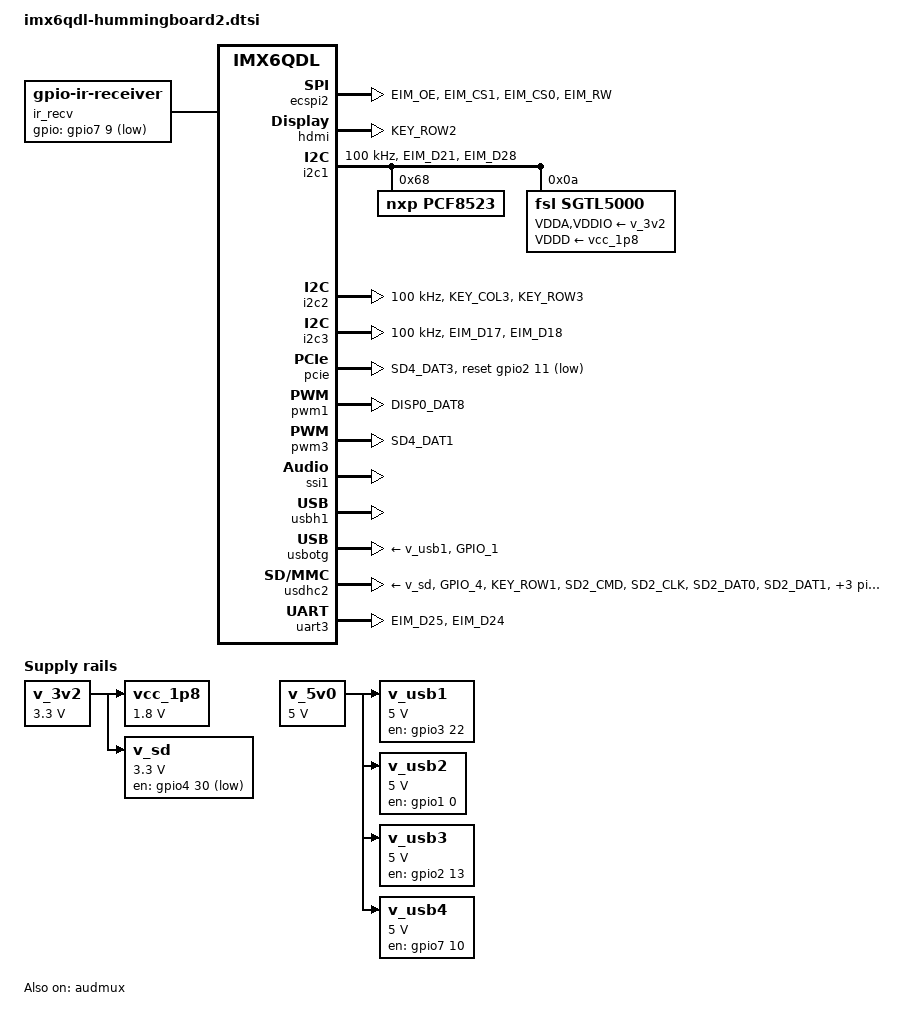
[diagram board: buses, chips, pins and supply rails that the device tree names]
/*
 * Copyright (C) 2015 Rabeeh Khoury <rabeeh@solid-run.com>
 *
 * This file is dual-licensed: you can use it either under the terms
 * of the GPL or the X11 license, at your option. Note that this dual
 * licensing only applies to this file, and not this project as a
 * whole.
 *
 *  a) This file is free software; you can redistribute it and/or
 *     modify it under the terms of the GNU General Public License
 *     version 2 as published by the Free Software Foundation.
 *
 *     This file is distributed in the hope that it will be useful,
 *     but WITHOUT ANY WARRANTY; without even the implied warranty of
 *     MERCHANTABILITY or FITNESS FOR A PARTICULAR PURPOSE.  See the
 *     GNU General Public License for more details.
 *
 * Or, alternatively,
 *
 *  b) Permission is hereby granted, free of charge, to any person
 *     obtaining a copy of this software and associated documentation
 *     files (the "Software"), to deal in the Software without
 *     restriction, including without limitation the rights to use,
 *     copy, modify, merge, publish, distribute, sublicense, and/or
 *     sell copies of the Software, and to permit persons to whom the
 *     Software is furnished to do so, subject to the following
 *     conditions:
 *
 *     The above copyright notice and this permission notice shall be
 *     included in all copies or substantial portions of the Software.
 *
 *     THE SOFTWARE IS PROVIDED "AS IS", WITHOUT WARRANTY OF ANY KIND,
 *     EXPRESS OR IMPLIED, INCLUDING BUT NOT LIMITED TO THE WARRANTIES
 *     OF MERCHANTABILITY, FITNESS FOR A PARTICULAR PURPOSE AND
 *     NONINFRINGEMENT. IN NO EVENT SHALL THE AUTHORS OR COPYRIGHT
 *     HOLDERS BE LIABLE FOR ANY CLAIM, DAMAGES OR OTHER LIABILITY,
 *     WHETHER IN AN ACTION OF CONTRACT, TORT OR OTHERWISE, ARISING
 *     FROM, OUT OF OR IN CONNECTION WITH THE SOFTWARE OR THE USE OR
 *     OTHER DEALINGS IN THE SOFTWARE.
 */
#include <dt-bindings/sound/fsl-imx-audmux.h>

/ {
	/* Will be filled by the bootloader */
	memory@10000000 {
		device_type = "memory";
		reg = <0x10000000 0>;
	};

	chosen {
		stdout-path = &uart1;
	};

	ir_recv: ir-receiver {
		compatible = "gpio-ir-receiver";
		gpios = <&gpio7 9 GPIO_ACTIVE_LOW>;
		pinctrl-names = "default";
		pinctrl-0 = <&pinctrl_hummingboard2_gpio7_9>;
		linux,rc-map-name = "rc-rc6-mce";
	};

	v_3v2: regulator-v-3v2 {
		compatible = "regulator-fixed";
		regulator-always-on;
		regulator-max-microvolt = <3300000>;
		regulator-min-microvolt = <3300000>;
		regulator-name = "v_3v2";
	};

	v_5v0: regulator-v-5v0 {
		compatible = "regulator-fixed";
		regulator-always-on;
		regulator-max-microvolt = <5000000>;
		regulator-min-microvolt = <5000000>;
		regulator-name = "v_5v0";
	};

	vcc_1p8: regulator-vcc-1p8 {
		compatible = "regulator-fixed";
		regulator-always-on;
		regulator-max-microvolt = <1800000>;
		regulator-min-microvolt = <1800000>;
		regulator-name = "vcc_1p8";
		vin-supply = <&v_3v2>;
	};

	v_sd: regulator-v-sd {
		compatible = "regulator-fixed";
		gpio = <&gpio4 30 GPIO_ACTIVE_HIGH>;
		pinctrl-names = "default";
		pinctrl-0 = <&pinctrl_hummingboard2_vmmc>;
		regulator-boot-on;
		regulator-max-microvolt = <3300000>;
		regulator-min-microvolt = <3300000>;
		regulator-name = "v_sd";
		startup-delay-us = <1000>;
		vin-supply = <&v_3v2>;
	};

	v_usb1: regulator-v-usb1 {
		compatible = "regulator-fixed";
		enable-active-high;
		gpio = <&gpio3 22 GPIO_ACTIVE_HIGH>;
		pinctrl-names = "default";
		pinctrl-0 = <&pinctrl_hummingboard2_usbotg_vbus>;
		regulator-always-on;
		regulator-max-microvolt = <5000000>;
		regulator-min-microvolt = <5000000>;
		regulator-name = "v_usb1";
		vin-supply = <&v_5v0>;
	};

	v_usb2: regulator-v-usb2 {
		/* USB hub port 1 */
		compatible = "regulator-fixed";
		enable-active-high;
		gpio = <&gpio1 0 GPIO_ACTIVE_HIGH>;
		pinctrl-names = "default";
		pinctrl-0 = <&pinctrl_hummingboard2_usbh1_vbus>;
		regulator-always-on;
		regulator-max-microvolt = <5000000>;
		regulator-min-microvolt = <5000000>;
		regulator-name = "v_usb2";
		vin-supply = <&v_5v0>;
	};

	v_usb3: regulator-v-usb3 {
		/* USB hub port 3 */
		compatible = "regulator-fixed";
		enable-active-high;
		gpio = <&gpio2 13 GPIO_ACTIVE_HIGH>;
		pinctrl-names = "default";
		pinctrl-0 = <&pinctrl_hummingboard2_usbh2_vbus>;
		regulator-always-on;
		regulator-max-microvolt = <5000000>;
		regulator-min-microvolt = <5000000>;
		regulator-name = "v_usb3";
		vin-supply = <&v_5v0>;
	};

	v_usb4: regulator-v-usb4 {
		/* USB hub port 4 */
		compatible = "regulator-fixed";
		enable-active-high;
		gpio = <&gpio7 10 GPIO_ACTIVE_HIGH>;
		pinctrl-names = "default";
		pinctrl-0 = <&pinctrl_hummingboard2_usbh3_vbus>;
		regulator-always-on;
		regulator-max-microvolt = <5000000>;
		regulator-min-microvolt = <5000000>;
		regulator-name = "v_usb4";
		vin-supply = <&v_5v0>;
	};

	audio: sound-sgtl5000 {
		compatible = "simple-audio-card";
		simple-audio-card,name = "On-board Codec";
		simple-audio-card,format = "i2s";
		simple-audio-card,bitclock-master = <&sound_codec>;
		simple-audio-card,frame-master = <&sound_codec>;
		simple-audio-card,widgets =
			"Microphone", "Mic Jack",
			"Headphone", "Headphone Jack";
		simple-audio-card,routing =
			"MIC_IN", "Mic Jack",
			"Mic Jack", "Mic Bias",
			"Headphone Jack", "HP_OUT";

		sound_cpu: simple-audio-card,cpu {
			sound-dai = <&ssi1>;
		};

		sound_codec: simple-audio-card,codec {
			sound-dai = <&sgtl5000>;
		};
	};
};

&audmux {
	status = "okay";

	ssi1 {
		fsl,audmux-port = <0>;
		fsl,port-config = <
			(IMX_AUDMUX_V2_PTCR_SYN |
			 IMX_AUDMUX_V2_PTCR_TFSEL(4) |
			 IMX_AUDMUX_V2_PTCR_TCSEL(4) |
			 IMX_AUDMUX_V2_PTCR_TFSDIR |
			 IMX_AUDMUX_V2_PTCR_TCLKDIR)
			 IMX_AUDMUX_V2_PDCR_RXDSEL(4)
		>;
	};

	pins5 {
		fsl,audmux-port = <4>;
		fsl,port-config = <
			IMX_AUDMUX_V2_PTCR_SYN
			IMX_AUDMUX_V2_PDCR_RXDSEL(0)
		>;
	};
};

&ecspi2 {
	pinctrl-names = "default";
	pinctrl-0 = <&pinctrl_hummingboard2_ecspi2>;
	cs-gpios = <&gpio2 26 GPIO_ACTIVE_LOW>;
	status = "okay";
};

&hdmi {
	pinctrl-names = "default";
	pinctrl-0 = <&pinctrl_hummingboard2_hdmi>;
	ddc-i2c-bus = <&i2c2>;
	status = "okay";
};

&i2c1 {
	clock-frequency = <100000>;
	pinctrl-names = "default";
	pinctrl-0 = <&pinctrl_hummingboard2_i2c1>;
	status = "okay";

	pcf8523: rtc@68 {
		compatible = "nxp,pcf8523";
		reg = <0x68>;
	};

	sgtl5000: codec@a {
		clocks = <&clks IMX6QDL_CLK_CKO>;
		compatible = "fsl,sgtl5000";
		#sound-dai-cells = <0>;
		pinctrl-names = "default";
		pinctrl-0 = <&pinctrl_hummingboard2_sgtl5000>;
		reg = <0x0a>;
		VDDA-supply = <&v_3v2>;
		VDDD-supply = <&vcc_1p8>;
		VDDIO-supply = <&v_3v2>;
	};
};

&i2c2 {
	clock-frequency = <100000>;
	pinctrl-names = "default";
	pinctrl-0 = <&pinctrl_hummingboard2_i2c2>;
	status = "okay";
};

&i2c3 {
	clock-frequency = <100000>;
	pinctrl-names = "default";
	pinctrl-0 = <&pinctrl_hummingboard2_i2c3>;
	status = "okay";
};

&iomuxc {
	pinctrl-names = "default";
	pinctrl-0 = <&pinctrl_hog>;

	hummingboard2 {
		pinctrl_hog: hoggrp {
		fsl,pins = <
				/*
				 * 36 pin headers GPIO description. The pins
				 * numbering as following -
				 *
				 * 	3.2v	5v	74	75
				 *	73	72	71	70
				 *	69	68	67	66
				 *
				 *	77	78	79	76
				 *	65	64	61	60
				 *	53	52	51	50
				 *	49	48	166	132
				 *	95	94	90	91
				 *	GND	54	24	204
				 *
				 * The GPIO numbers can be extracted using
				 * signal name from below.
				 * Example -
				 * MX6QDL_PAD_EIM_DA10__GPIO3_IO10 is
				 * GPIO(3,10) which is (3-1)*32+10 = gpio 74
				 *
				 * i.e. The mapping of GPIO(X,Y) to Linux gpio
				 * number is : gpio number = (X-1) * 32 + Y
				 */
				/* DI1_PIN15 */
				MX6QDL_PAD_EIM_DA10__GPIO3_IO10 0x400130b1
				/* DI1_PIN02 */
				MX6QDL_PAD_EIM_DA11__GPIO3_IO11 0x400130b1
				/* DISP1_DATA00 */
				MX6QDL_PAD_EIM_DA9__GPIO3_IO09 0x400130b1
				/* DISP1_DATA01 */
				MX6QDL_PAD_EIM_DA8__GPIO3_IO08 0x400130b1
				/* DISP1_DATA02 */
				MX6QDL_PAD_EIM_DA7__GPIO3_IO07 0x400130b1
				/* DISP1_DATA03 */
				MX6QDL_PAD_EIM_DA6__GPIO3_IO06 0x400130b1
				/* DISP1_DATA04 */
				MX6QDL_PAD_EIM_DA5__GPIO3_IO05 0x400130b1
				/* DISP1_DATA05 */
				MX6QDL_PAD_EIM_DA4__GPIO3_IO04 0x400130b1
				/* DISP1_DATA06 */
				MX6QDL_PAD_EIM_DA3__GPIO3_IO03 0x400130b1
				/* DISP1_DATA07 */
				MX6QDL_PAD_EIM_DA2__GPIO3_IO02 0x400130b1
				/* DI1_D0_CS */
				MX6QDL_PAD_EIM_DA13__GPIO3_IO13 0x400130b1
				/* DI1_D1_CS */
				MX6QDL_PAD_EIM_DA14__GPIO3_IO14 0x400130b1
				/* DI1_PIN01 */
				MX6QDL_PAD_EIM_DA15__GPIO3_IO15 0x400130b1
				/* DI1_PIN03 */
				MX6QDL_PAD_EIM_DA12__GPIO3_IO12 0x400130b1
				/* DISP1_DATA08 */
				MX6QDL_PAD_EIM_DA1__GPIO3_IO01 0x400130b1
				/* DISP1_DATA09 */
				MX6QDL_PAD_EIM_DA0__GPIO3_IO00 0x400130b1
				/* DISP1_DATA10 */
				MX6QDL_PAD_EIM_EB1__GPIO2_IO29 0x400130b1
				/* DISP1_DATA11 */
				MX6QDL_PAD_EIM_EB0__GPIO2_IO28 0x400130b1
				/* DISP1_DATA12 */
				MX6QDL_PAD_EIM_A17__GPIO2_IO21 0x400130b1
				/* DISP1_DATA13 */
				MX6QDL_PAD_EIM_A18__GPIO2_IO20 0x400130b1
				/* DISP1_DATA14 */
				MX6QDL_PAD_EIM_A19__GPIO2_IO19 0x400130b1
				/* DISP1_DATA15 */
				MX6QDL_PAD_EIM_A20__GPIO2_IO18 0x400130b1
				/* DISP1_DATA16 */
				MX6QDL_PAD_EIM_A21__GPIO2_IO17 0x400130b1
				/* DISP1_DATA17 */
				MX6QDL_PAD_EIM_A22__GPIO2_IO16 0x400130b1
				/* DISP1_DATA18 */
				MX6QDL_PAD_EIM_A23__GPIO6_IO06 0x400130b1
				/* DISP1_DATA19 */
				MX6QDL_PAD_EIM_A24__GPIO5_IO04 0x400130b1
				/* DISP1_DATA20 */
				MX6QDL_PAD_EIM_D31__GPIO3_IO31 0x400130b1
				/* DISP1_DATA21 */
				MX6QDL_PAD_EIM_D30__GPIO3_IO30 0x400130b1
				/* DISP1_DATA22 */
				MX6QDL_PAD_EIM_D26__GPIO3_IO26 0x400130b1
				/* DISP1_DATA23 */
				MX6QDL_PAD_EIM_D27__GPIO3_IO27 0x400130b1
				/* DI1_DISP_CLK */
				MX6QDL_PAD_EIM_A16__GPIO2_IO22 0x400130b1
				/* SPDIF_IN */
				MX6QDL_PAD_ENET_RX_ER__GPIO1_IO24 0x400130b1
				/* SPDIF_OUT */
				MX6QDL_PAD_GPIO_17__GPIO7_IO12 0x400130b1

				/* MikroBUS GPIO pin number 10 */
				MX6QDL_PAD_EIM_LBA__GPIO2_IO27 0x400130b1
			>;
		};

		pinctrl_hummingboard2_ecspi2: hummingboard2-ecspi2grp {
			fsl,pins = <
				MX6QDL_PAD_EIM_OE__ECSPI2_MISO	0x100b1
				MX6QDL_PAD_EIM_CS1__ECSPI2_MOSI	0x100b1
				MX6QDL_PAD_EIM_CS0__ECSPI2_SCLK	0x100b1
				MX6QDL_PAD_EIM_RW__GPIO2_IO26	0x000b1 /* CS */
			>;
		};

		pinctrl_hummingboard2_gpio7_9: hummingboard2-gpio7_9 {
			fsl,pins = <
				MX6QDL_PAD_SD4_CMD__GPIO7_IO09 0x80000000
			>;
		};

		pinctrl_hummingboard2_hdmi: hummingboard2-hdmi {
			fsl,pins = <
				MX6QDL_PAD_KEY_ROW2__HDMI_TX_CEC_LINE 0x1f8b0
			>;
		};

		pinctrl_hummingboard2_i2c1: hummingboard2-i2c1 {
			fsl,pins = <
				MX6QDL_PAD_EIM_D21__I2C1_SCL 0x4001b8b1
				MX6QDL_PAD_EIM_D28__I2C1_SDA 0x4001b8b1
			>;
		};

		pinctrl_hummingboard2_i2c2: hummingboard2-i2c2 {
			fsl,pins = <
				MX6QDL_PAD_KEY_COL3__I2C2_SCL 0x4001b8b1
				MX6QDL_PAD_KEY_ROW3__I2C2_SDA 0x4001b8b1
			>;
		};

		pinctrl_hummingboard2_i2c3: hummingboard2-i2c3 {
			fsl,pins = <
				MX6QDL_PAD_EIM_D17__I2C3_SCL 0x4001b8b1
				MX6QDL_PAD_EIM_D18__I2C3_SDA 0x4001b8b1
			>;
		};

		pinctrl_hummingboard2_mipi: hummingboard2_mipi {
			fsl,pins = <
				MX6QDL_PAD_SD4_DAT2__GPIO2_IO10 0x4001b8b1
				MX6QDL_PAD_KEY_COL4__GPIO4_IO14 0x4001b8b1
				MX6QDL_PAD_NANDF_CS2__CCM_CLKO2 0x130b0
			>;
		};

		pinctrl_hummingboard2_pcie_reset: hummingboard2-pcie-reset {
			fsl,pins = <
				MX6QDL_PAD_SD4_DAT3__GPIO2_IO11 0x1b0b1
			>;
		};

		pinctrl_hummingboard2_pwm1: pwm1grp {
			fsl,pins = <
				MX6QDL_PAD_DISP0_DAT8__PWM1_OUT 0x1b0b1
			>;
		};

		pinctrl_hummingboard2_pwm3: pwm3grp {
			fsl,pins = <
				MX6QDL_PAD_SD4_DAT1__PWM3_OUT 0x1b0b1
			>;
		};

		pinctrl_hummingboard2_sgtl5000: hummingboard2-sgtl5000 {
			fsl,pins = <
				MX6QDL_PAD_DISP0_DAT19__AUD5_RXD 0x130b0
				MX6QDL_PAD_KEY_COL0__AUD5_TXC 0x130b0
				MX6QDL_PAD_KEY_ROW0__AUD5_TXD 0x110b0
				MX6QDL_PAD_KEY_COL1__AUD5_TXFS 0x130b0
				MX6QDL_PAD_GPIO_5__CCM_CLKO1 0x130b0
			>;
		};

		pinctrl_hummingboard2_usbh1_vbus: hummingboard2-usbh1-vbus {
			fsl,pins = <MX6QDL_PAD_GPIO_0__GPIO1_IO00 0x1b0b0>;
		};

		pinctrl_hummingboard2_usbh2_vbus: hummingboard2-usbh2-vbus {
			fsl,pins = <MX6QDL_PAD_SD4_DAT5__GPIO2_IO13 0x1b0b0>;
		};

		pinctrl_hummingboard2_usbh3_vbus: hummingboard2-usbh3-vbus {
			fsl,pins = <MX6QDL_PAD_SD4_CLK__GPIO7_IO10 0x1b0b0>;
		};

		pinctrl_hummingboard2_usbotg_id: hummingboard2-usbotg-id {
			/*
			 * We want it pulled down for a fixed host connection.
			 */
			fsl,pins = <MX6QDL_PAD_GPIO_1__USB_OTG_ID 0x13059>;
		};

		pinctrl_hummingboard2_usbotg_vbus: hummingboard2-usbotg-vbus {
			fsl,pins = <MX6QDL_PAD_EIM_D22__GPIO3_IO22 0x1b0b0>;
		};

		pinctrl_hummingboard2_usdhc2_aux: hummingboard2-usdhc2-aux {
			fsl,pins = <
				MX6QDL_PAD_GPIO_4__GPIO1_IO04    0x1f071
				MX6QDL_PAD_KEY_ROW1__SD2_VSELECT 0x1b071
			>;
		};

		pinctrl_hummingboard2_usdhc2: hummingboard2-usdhc2 {
			fsl,pins = <
				MX6QDL_PAD_SD2_CMD__SD2_CMD    0x17059
				MX6QDL_PAD_SD2_CLK__SD2_CLK    0x10059
				MX6QDL_PAD_SD2_DAT0__SD2_DATA0 0x17059
				MX6QDL_PAD_SD2_DAT1__SD2_DATA1 0x17059
				MX6QDL_PAD_SD2_DAT2__SD2_DATA2 0x17059
				MX6QDL_PAD_SD2_DAT3__SD2_DATA3 0x13059
			>;
		};

		pinctrl_hummingboard2_usdhc2_100mhz: hummingboard2-usdhc2-100mhz {
			fsl,pins = <
				MX6QDL_PAD_SD2_CMD__SD2_CMD    0x170b9
				MX6QDL_PAD_SD2_CLK__SD2_CLK    0x100b9
				MX6QDL_PAD_SD2_DAT0__SD2_DATA0 0x170b9
				MX6QDL_PAD_SD2_DAT1__SD2_DATA1 0x170b9
				MX6QDL_PAD_SD2_DAT2__SD2_DATA2 0x170b9
				MX6QDL_PAD_SD2_DAT3__SD2_DATA3 0x130b9
			>;
		};

		pinctrl_hummingboard2_usdhc2_200mhz: hummingboard2-usdhc2-200mhz {
			fsl,pins = <
				MX6QDL_PAD_SD2_CMD__SD2_CMD    0x170f9
				MX6QDL_PAD_SD2_CLK__SD2_CLK    0x100f9
				MX6QDL_PAD_SD2_DAT0__SD2_DATA0 0x170f9
				MX6QDL_PAD_SD2_DAT1__SD2_DATA1 0x170f9
				MX6QDL_PAD_SD2_DAT2__SD2_DATA2 0x170f9
				MX6QDL_PAD_SD2_DAT3__SD2_DATA3 0x130f9
			>;
		};

		pinctrl_hummingboard2_vmmc: hummingboard2-vmmc {
			fsl,pins = <
				MX6QDL_PAD_DISP0_DAT9__GPIO4_IO30 0x1b0b0
			>;
		};

		pinctrl_hummingboard2_uart3: hummingboard2-uart3 {
			fsl,pins = <
				MX6QDL_PAD_EIM_D25__UART3_TX_DATA	0x1b0b1
				MX6QDL_PAD_EIM_D24__UART3_RX_DATA	0x40013000
			>;
		};
	};
};

&pcie {
	pinctrl-names = "default";
	pinctrl-0 = <&pinctrl_hummingboard2_pcie_reset>;
	reset-gpio = <&gpio2 11 GPIO_ACTIVE_LOW>;
	status = "okay";
};

&pwm1 {
	pinctrl-names = "default";
	pinctrl-0 = <&pinctrl_hummingboard2_pwm1>;
	status = "okay";
};

&pwm3 {
	pinctrl-names = "default";
	pinctrl-0 = <&pinctrl_hummingboard2_pwm3>;
	status = "okay";
};

&ssi1 {
	status = "okay";
};

&usbh1 {
	disable-over-current;
	status = "okay";
};

&usbotg {
	disable-over-current;
	pinctrl-names = "default";
	pinctrl-0 = <&pinctrl_hummingboard2_usbotg_id>;
	vbus-supply = <&v_usb1>;
	status = "okay";
};

&usdhc2 {
	pinctrl-names = "default", "state_100mhz", "state_200mhz";
	pinctrl-0 = <
		&pinctrl_hummingboard2_usdhc2_aux
		&pinctrl_hummingboard2_usdhc2
	>;
	pinctrl-1 = <
		&pinctrl_hummingboard2_usdhc2_aux
		&pinctrl_hummingboard2_usdhc2_100mhz
	>;
	pinctrl-2 = <
		&pinctrl_hummingboard2_usdhc2_aux
		&pinctrl_hummingboard2_usdhc2_200mhz
	>;
	vmmc-supply = <&v_sd>;
	cd-gpios = <&gpio1 4 GPIO_ACTIVE_LOW>;
	status = "okay";
};

&uart3 {
	pinctrl-names = "default";
	pinctrl-0 = <&pinctrl_hummingboard2_uart3>;
	status = "okay";
};

&vcc_3v3 {
	vin-supply = <&v_3v2>;
};
